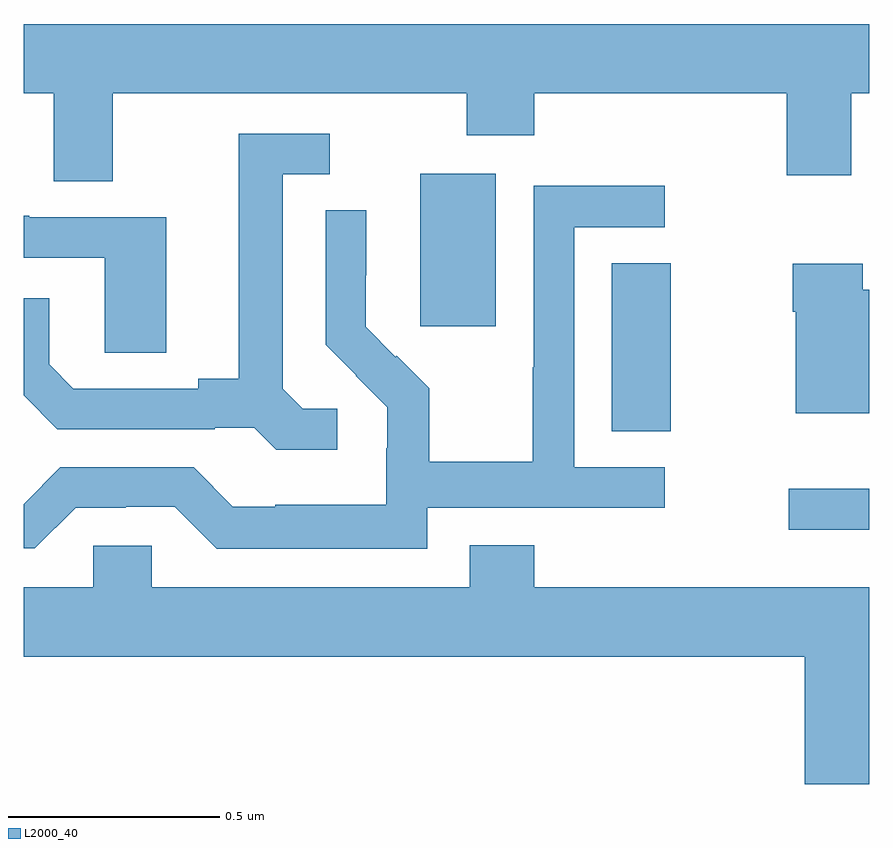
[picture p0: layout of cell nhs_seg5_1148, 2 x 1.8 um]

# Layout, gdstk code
import gdstk
lib = gdstk.Library(unit=1e-6, precision=1e-09)
def R(c, l, rs):  # rectangles x0, y0, x1, y1
    for r in rs: c.add(gdstk.rectangle(r[:2], r[2:], *l))
def P(c, l, *ps):  # polygons
    for p in ps: c.add(gdstk.Polygon(p, *l))
L2000_40 = (2000, 40)

nhs_seg5_1148 = lib.new_cell('nhs_seg5_1148')
R(nhs_seg5_1148, L2000_40, [(127.809,850.4,128,850.497), (127.391,850.633,127.53,851.03), (126.938,850.881,127.117,851.242)])
P(nhs_seg5_1148, L2000_40, [(126.211,851.432),(127.048,851.432),(127.048,851.333),(127.208,851.333),(127.208,851.432),(127.805,851.432),(127.805,851.238),(127.957,851.238),(127.957,851.432),(128,851.432),(128,851.596),(126,851.596),(126,851.432),(126.071,851.432),(126.071,851.224),(126.211,851.224)],
  [(126.742,850.686),(126.66,850.686),(126.613,850.733),(126.613,851.241),(126.724,851.241),(126.724,851.337),(126.509,851.337),(126.509,850.757),(126.413,850.757),(126.413,850.734),(126.118,850.734),(126.061,850.791),(126.061,850.948),(126,850.948),(126,850.718),(126.08,850.638),(126.452,850.638),(126.452,850.641),(126.546,850.641),(126.598,850.589),(126.742,850.589)],
  [(126.954,850.452),(127.516,850.452),(127.516,850.548),(127.302,850.548),(127.302,851.115),(127.516,851.115),(127.516,851.214),(127.206,851.214),(127.206,850.784),(127.204,850.784),(127.204,850.561),(126.959,850.561),(126.959,850.735),(126.882,850.812),(126.879,850.809),(126.809,850.88),(126.809,851.002),(126.81,851.002),(126.81,851.156),(126.714,851.156),(126.714,850.838),(126.787,850.765),(126.786,850.764),(126.86,850.69),(126.86,850.593),(126.858,850.593),(126.858,850.459),(126.595,850.459),(126.595,850.455),(126.495,850.455),(126.402,850.548),(126.087,850.548),(126,850.461),(126,850.356),(126.027,850.356),(126.123,850.452),(126.242,850.452),(126.242,850.455),(126.357,850.455),(126.457,850.355),(126.954,850.355)],
  [(126.337,851.139),(126.013,851.139),(126.013,851.143),(126,851.143),(126,851.043),(126.192,851.043),(126.192,850.819),(126.337,850.819)],
  [(128,850.968),(127.984,850.968),(127.984,851.029),(127.819,851.029),(127.819,850.916),(127.826,850.916),(127.826,850.676),(128,850.676)],
  [(127.055,850.363),(127.055,850.264),(126.303,850.264),(126.303,850.362),(126.165,850.362),(126.165,850.264),(126,850.264),(126,850.1),(127.847,850.1),(127.847,849.799),(128,849.799),(128,850.264),(127.208,850.264),(127.208,850.363)])

lib.write_gds('nhs_seg5_1148.gds')
